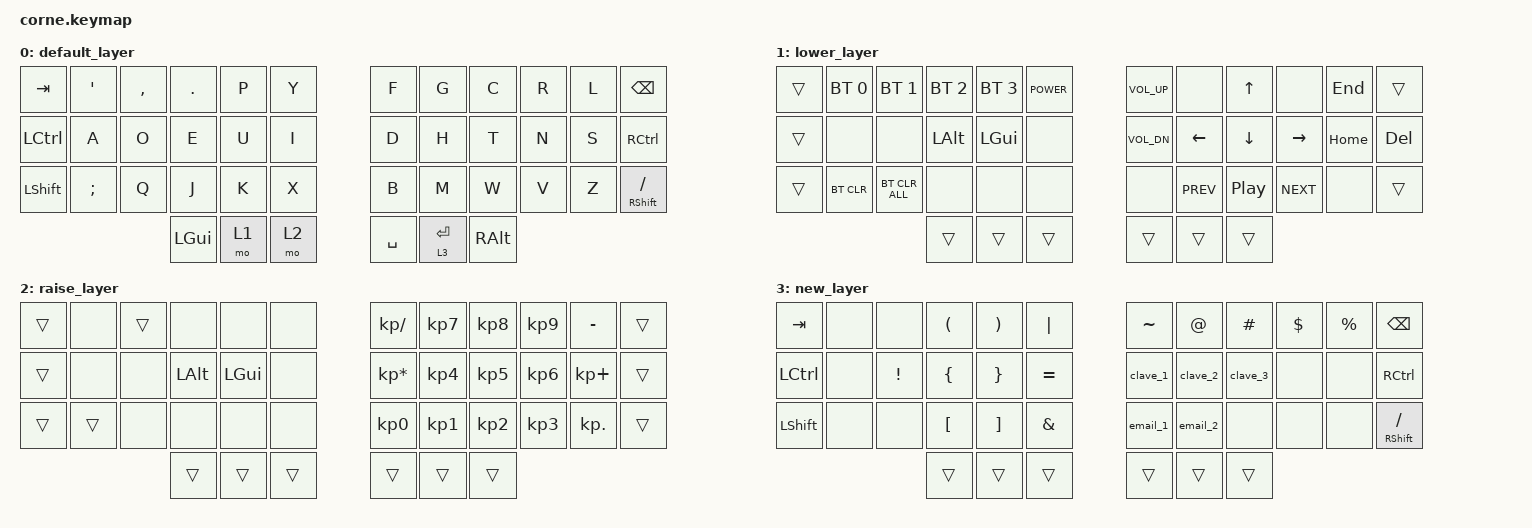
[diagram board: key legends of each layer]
/*
 * Copyright (c) 2020 The ZMK Contributors
 *
 * SPDX-License-Identifier: MIT
 */

#include <behaviors.dtsi>
#include <dt-bindings/zmk/bt.h>
#include <dt-bindings/zmk/keys.h>

/ {
    macros {
        clave_1: clave_1 {
            compatible = "zmk,behavior-macro";
            #binding-cells = <0>; // No requiere parámetros
            bindings = <&kp KP_N7 &kp KP_N4 &kp KP_N1 &kp KP_N2 &kp KP_N3>;
        };

        clave_2: clave_2 {
            compatible = "zmk,behavior-macro";
            #binding-cells = <0>; // No requiere parámetros
            bindings = <&kp T &kp DLLR &kp N8 &kp LS(L) &kp N0 &kp LS(O) &kp N5 &kp RBRC &kp N8 &kp LS(M)>;
        };

        clave_3: clave_3 {
            compatible = "zmk,behavior-macro";
            #binding-cells = <0>; // No requiere parámetros
            bindings = <&kp R &kp E &kp KP_N1 &kp AT &kp KP_N8 &kp KP_N9 &kp KP_N1 &kp KP_N1>;
        };

        email_1: email_1 {
            compatible = "zmk,behavior-macro";
            #binding-cells = <0>; // No requiere parámetros
            bindings = <&kp R &kp O &kp G &kp E &kp R &kp N0 &kp DOT &kp E &kp S &kp P &kp I &kp N &kp O &kp Z &kp A &kp N1 &kp AT &kp G &kp M &kp A &kp I &kp L &kp DOT &kp C &kp O &kp M>;
        };

        email_2: email_2 {
            compatible = "zmk,behavior-macro";
            #binding-cells = <0>;
            bindings = <&none &kp R &kp O &kp G &kp E &kp R &kp DOT &kp E &kp S &kp P &kp I &kp N &kp O &kp Z &kp A &kp DOT &kp D &kp E &kp V &kp E &kp L &kp O &kp P &kp E &kp R &kp AT &kp G &kp M &kp A &kp I &kp L &kp DOT &kp C &kp O &kp M>;
            label = "EMAIL_2";
        };
    };
};

/ {
    keymap {
        compatible = "zmk,keymap";

        default_layer {
            // -----------------------------------------------------------------------------------------
            // |  TAB |  Q  |  W  |  E  |  R  |  T  |   |  Y  |  U   |  I  |  O  |  P  | BSPC |
            // | CTRL |  A  |  S  |  D  |  F  |  G  |   |  H  |  J   |  K  |  L  |  ;  |  '   |
            // | SHFT |  Z  |  X  |  C  |  V  |  B  |   |  N  |  M   |  ,  |  .  |  /  | ESC  |
            //                    | GUI | LWR | SPC |   | ENT | RSE  | ALT |

            bindings = <
&kp TAB    &kp SQT   &kp COMMA  &kp DOT   &kp P  &kp Y    &kp F      &kp G      &kp C     &kp R  &kp L  &kp BSPC
&kp LCTRL  &kp A     &kp O      &kp E     &kp U  &kp I    &kp D      &kp H      &kp T     &kp N  &kp S  &kp RCTRL
&kp LSHFT  &kp SEMI  &kp Q      &kp J     &kp K  &kp X    &kp B      &kp M      &kp W     &kp V  &kp Z  &mt RSHFT FSLH
                                &kp LGUI  &mo 1  &mo 2    &kp SPACE  &lt 3 RET  &kp RALT
            >;
        };

        lower_layer {
            // -----------------------------------------------------------------------------------------
            // |  TAB |  1  |  2  |  3  |  4  |  5  |   |  6  |  7  |  8  |  9  |  0  | BSPC |
            // | BTCLR| BT1 | BT2 | BT3 | BT4 | BT5 |   | LFT | DWN |  UP | RGT |     |      |
            // | SHFT |     |     |     |     |     |   |     |     |     |     |     |      |
            //                    | GUI |     | SPC |   | ENT |     | ALT |

            bindings = <
&trans  &bt BT_SEL 0  &bt BT_SEL 1    &bt BT_SEL 2  &bt BT_SEL 3  &kp K_POWER    &kp C_VOL_UP  &none       &kp UP    &none       &kp END   &trans
&trans  &none         &none           &kp LALT      &kp LGUI      &none          &kp C_VOL_DN  &kp LEFT    &kp DOWN  &kp RIGHT   &kp HOME  &kp DEL
&trans  &bt BT_CLR    &bt BT_CLR_ALL  &none         &none         &none          &none         &kp C_PREV  &kp C_PP  &kp C_NEXT  &none     &trans
                                      &trans        &trans        &trans         &trans        &trans      &trans
            >;
        };

        raise_layer {
            // -----------------------------------------------------------------------------------------
            // |  TAB |  !  |  @  |  #  |  $  |  %  |   |  ^  |  &  |  *  |  (  |  )  | BSPC |
            // | CTRL |     |     |     |     |     |   |  -  |  =  |  [  |  ]  |  \  |  `   |
            // | SHFT |     |     |     |     |     |   |  _  |  +  |  {  |  }  | "|" |  ~   |
            //                    | GUI |     | SPC |   | ENT |     | ALT |

            bindings = <
&trans  &none   &trans  &none     &none     &none     &kp KP_DIVIDE    &kp KP_N7  &kp KP_N8  &kp KP_N9  &kp MINUS    &trans
&trans  &none   &none   &kp LALT  &kp LGUI  &none     &kp KP_MULTIPLY  &kp KP_N4  &kp KP_N5  &kp KP_N6  &kp KP_PLUS  &trans
&trans  &trans  &none   &none     &none     &none     &kp KP_N0        &kp KP_N1  &kp KP_N2  &kp KP_N3  &kp KP_DOT   &trans
                        &trans    &trans    &trans    &trans           &trans     &trans
            >;
        };

        new_layer {
            // -----------------------------------------------------------------------------------------
            // |  TAB |  Q  |  W  |  E  |  R  |  T  |   |  Y  |  U   |  I  |  O  |  P  | BSPC |
            // | CTRL |  A  |  S  |  D  |  F  |  G  |   |  H  |  J   |  K  |  L  |  ;  |  '   |
            // | SHFT |  Z  |  X  |  C  |  V  |  B  |   |  N  |  M   |  ,  |  .  |  /  | ESC  |
            //                    | GUI | LWR | SPC |   | ENT | RSE  | ALT |

            bindings = <
&kp TAB    &none  &none     &kp LPAR  &kp RPAR  &kp PIPE     &kp TILDE  &kp AT    &kp HASH  &kp DLLR  &kp PRCNT  &kp BSPC
&kp LCTRL  &none  &kp EXCL  &kp LBRC  &kp RBRC  &kp EQUAL    &clave_1   &clave_2  &clave_3  &none     &none      &kp RCTRL
&kp LSHFT  &none  &none     &kp LBKT  &kp RBKT  &kp AMPS     &email_1   &email_2  &none     &none     &none      &mt RSHFT FSLH
                            &trans    &trans    &trans       &trans     &trans    &trans
            >;
        };
    };
};
